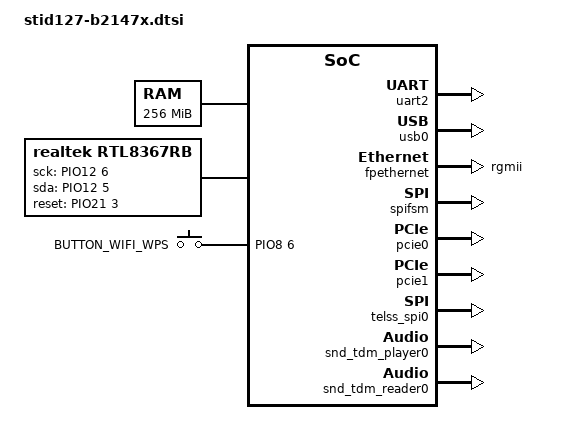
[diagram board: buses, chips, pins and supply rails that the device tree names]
/*
 * Copyright (C) 2014 STMicroelectronics Limited.
 * Author: Giuseppe Condorelli <giuseppe.condorelli@st.com>
 *
 * This program is free software; you can redistribute it and/or modify
 * it under the terms of the GNU General Public License version 2 as
 * publishhed by the Free Software Foundation.
 */

/ {
	memory{
		device_type = "memory";
		reg = <0x40000000 0x10000000>;
	};

	chosen {
		bootargs = "";
		linux,stdout-path = &uart2;
	};

	aliases {
		ttyAS0 = &uart2;
		usb0 = &usb0;
		if16 = &if16;
		if1 = &if1;
		if0 = &if0;
		ethernet1 = &fpethernet1;
	};

	soc {
		uart2:serial@fe532000{
			status = "okay";
		};

		usb0: usb@fe800000{
			status = "okay";
		};

		if6:queue_5 {
			status = "okay";
		};

		if1:queue_7 {
			status = "okay";
		};


		if0:queue_0 {
			status = "okay";
		};

		rtl8367rb {
			compatible = "realtek,rtl8367rb";
			gpio-sck = <&PIO12 6 0>;
			gpio-sda = <&PIO12 5 0>;
			gpio-reset = <&PIO21 3 0>;

			rtl8367rb,extif1;
			rtl8367rb,extif1-mode = <1>;    // RGMII
			rtl8367rb,extif1-txdelay = <0>;
			rtl8367rb,extif1-rxdelay = <1>;
			rtl8367rb,extif1-force_mode = <1>;
			rtl8367rb,extif1-txpause = <1>;
			rtl8367rb,extif1-rxpause = <1>;
			rtl8367rb,extif1-link = <1>;
			rtl8367rb,extif1-duplex = <1>;
			rtl8367rb,extif1-speed = <2>;
		};

		fpethernet:stmfp@fee80000 {
			status = "okay";
			phy-mode = "rgmii";

			fpdocsis{
				fixed-link = <1 1000 0 0>;
				st,phy-bus-id = <0>;
				st,phy-addr = <2>;
			};

			fpethernet0: fpgige0 {
				fixed-link = <1 1000 0 0>;
				st,phy-bus-id = <0>;
				st,phy-addr = <3>;
			};

			fpethernet1: fpgige1 {
				fixed-link = <1 1000 0 0>;
				st,phy-bus-id = <0>;
				st,phy-addr = <1>;
			};
		};

		spifsm:	spifsm@fe302000 {
			status = "okay";
			flash-name = "n25q512";
			partitions = <&b2147_fsm_partitions>;

			b2147_fsm_partitions: partitions-b2147 {
				#address-cells = <1>;
				#size-cells = <1>;
				partition@0 {
					label = "boot";
					reg = <0x00000000 0x01e00000>;
				};
				partition@1e00000 {
					label = "nvm";
					reg = <0x01e00000 0x00100000>;
				};
				partition@1f00000 {
					label = "rest";
					reg = <0x01f00000 0x02100000>;
				};
			};
		};

		pcie0: pcie@fef20000 {
			status = "okay";
		};

		pcie1: pcie@fef30000 {
			status = "okay";
		};

		telss_spi0: telss-spi0{
			status = "okay";
		};

		snd_tdm_player0: snd-uni-tdm@0xfeba4000 {
			status = "okay";
		};

		snd_tdm_reader0: snd-uni-tdm@0xfeba5000 {
			status = "okay";
		};

		gpio_keys {
			compatible = "gpio-keys";
			button_wifi_wps {
				label = "BUTTON_WIFI_WPS";
				linux,code = <122>;
				gpios = <&PIO8 6 0>;
			};
		};
	};
};
